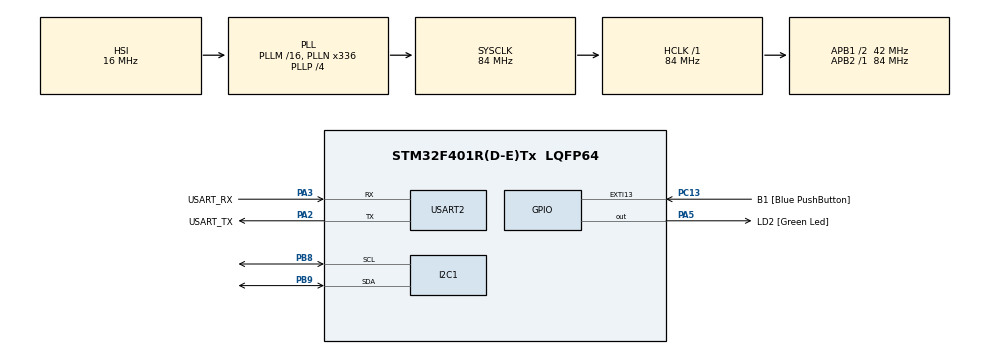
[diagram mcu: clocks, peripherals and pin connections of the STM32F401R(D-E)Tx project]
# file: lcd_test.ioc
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Mcu.Family=STM32F4
Mcu.Name=STM32F401R(D-E)Tx
Mcu.Package=LQFP64
NVIC.PriorityGroup=NVIC_PRIORITYGROUP_0
PA13.GPIO_Label=TMS
PA13.Mode=Serial_Wire
PA13.Signal=SYS_JTMS-SWDIO
PA14.GPIO_Label=TCK
PA14.Mode=Serial_Wire
PA14.Signal=SYS_JTCK-SWCLK
PA2.GPIO_Label=USART_TX
PA2.GPIO_Mode=GPIO_MODE_AF_PP
PA2.GPIO_PuPd=GPIO_NOPULL
PA2.GPIO_Speed=GPIO_SPEED_FREQ_LOW
PA2.Mode=Asynchronous
PA2.Signal=USART2_TX
PA3.GPIO_Label=USART_RX
PA3.GPIO_Mode=GPIO_MODE_AF_PP
PA3.GPIO_PuPd=GPIO_NOPULL
PA3.GPIO_Speed=GPIO_SPEED_FREQ_LOW
PA3.Mode=Asynchronous
PA3.Signal=USART2_RX
PA5.GPIO_Label=LD2 [Green Led]
PA5.GPIO_Mode=GPIO_MODE_OUTPUT_PP
PA5.GPIO_PuPd=GPIO_NOPULL
PA5.GPIO_Speed=GPIO_SPEED_FREQ_LOW
PA5.Signal=GPIO_Output
PB3.GPIO_Label=SWO
PB3.Signal=SYS_JTDO-SWO
PB8.Mode=I2C
PB8.Signal=I2C1_SCL
PB9.Mode=I2C
PB9.Signal=I2C1_SDA
PC13-ANTI_TAMP.GPIO_Label=B1 [Blue PushButton]
PC13-ANTI_TAMP.GPIO_ModeDefaultEXTI=GPIO_MODE_IT_FALLING
PC13-ANTI_TAMP.GPIO_PuPd=GPIO_NOPULL
PC13-ANTI_TAMP.Signal=GPXTI13
PC14-OSC32_IN.Mode=LSE-External-Oscillator
PC14-OSC32_IN.Signal=RCC_OSC32_IN
PC15-OSC32_OUT.Mode=LSE-External-Oscillator
PC15-OSC32_OUT.Signal=RCC_OSC32_OUT
PH0\ -\ OSC_IN.Mode=HSE-External-Clock-Source
PH0\ -\ OSC_IN.Signal=RCC_OSC_IN
PH1\ -\ OSC_OUT.Mode=HSE-External-Clock-Source
PH1\ -\ OSC_OUT.Signal=RCC_OSC_OUT
ProjectManager.HeapSize=0x200
ProjectManager.StackSize=0x400
ProjectManager.TargetToolchain=STM32CubeIDE
RCC.48MHZClocksFreq_Value=48000000
RCC.AHBFreq_Value=84000000
RCC.APB1CLKDivider=RCC_HCLK_DIV2
RCC.APB1Freq_Value=42000000
RCC.APB1TimFreq_Value=84000000
RCC.APB2Freq_Value=84000000
RCC.APB2TimFreq_Value=84000000
RCC.CortexFreq_Value=84000000
RCC.HCLKFreq_Value=84000000
RCC.HSE_VALUE=8000000
RCC.HSI_VALUE=16000000
RCC.PLLN=336
RCC.PLLP=RCC_PLLP_DIV4
RCC.PLLQ=7
RCC.SYSCLKFreq_VALUE=84000000
RCC.SYSCLKSource=RCC_SYSCLKSOURCE_PLLCLK
RCC.VCOOutputFreq_Value=336000000
USART2.VirtualMode=VM_ASYNC
board=NUCLEO-F401RE

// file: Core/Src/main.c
/* USER CODE BEGIN Header */
/**
  ******************************************************************************
  * @file           : main.c
  * @brief          : Main program body
  ******************************************************************************
  * @attention
  *
  * Copyright (c) 2023 STMicroelectronics.
  * All rights reserved.
  *
  * This software is licensed under terms that can be found in the LICENSE file
  * in the root directory of this software component.
  * If no LICENSE file comes with this software, it is provided AS-IS.
  *
  ******************************************************************************
  */
/* USER CODE END Header */
#include "main.h"

/* USER CODE BEGIN Includes */
#include "i2c-lcd.h"
/* USER CODE END Includes */

I2C_HandleTypeDef hi2c1;

UART_HandleTypeDef huart2;

void SystemClock_Config(void);
static void MX_GPIO_Init(void);
static void MX_USART2_UART_Init(void);
static void MX_I2C1_Init(void);

int main(void)
{

  /* MCU Configuration--------------------------------------------------------*/

  /* Reset of all peripherals, Initializes the Flash interface and the Systick. */
  HAL_Init();

  /* Configure the system clock */
  SystemClock_Config();

  /* Initialize all configured peripherals */
  MX_GPIO_Init();
  MX_USART2_UART_Init();
  MX_I2C1_Init();
  /* USER CODE BEGIN 2 */

  // Initialize the I2C connection mode and the LCD display using the library
  lcd_init();

  /* IMPORTANT!!! Addresses of the display lines:
   * Line 1: 0x80|0x00 --> from 0x00(0)  to 0x13(19)
   * Line 3: 0x80|0x14 --> from 0x14(20) to 0x27(39)
   * Line 2: 0x80|0x40 --> from 0x40(40) to 0x53(59)
   * Line 4: 0x80|0x54 --> from 0x54(60) to 0x67(79)
   * NOTE!!! You always need to apply OR with 0x80 (1000 0000) (set bit 8 to 1)
   * 	ie. lcd_send_cmd(0x80|0x00); to move the cursor to line 1 position 1
  */
  unsigned char LINE_1_START = 0x80|0x00;
  unsigned char LINE_2_START = 0x80|0x40;
  unsigned char LINE_3_START = 0x80|0x14;
  unsigned char LINE_4_START = 0x80|0x54;
  unsigned char CLEAR_SCREEN = 0x1;
  unsigned char CURSOR_ON = 0xE;
  unsigned char CURSOR_OFF = 0xC;
  unsigned char CURSOR_BLINK_ON = 0xD;
  unsigned char CURSOR_BLINK_OFF = 0xC;
  unsigned char DISPLAY_OFF = 0x08;
  unsigned char DISPLAY_ON = CURSOR_OFF;

  lcd_send_cmd(CURSOR_BLINK_ON);
//  lcd_send_cmd(LINE_1_START);
  lcd_set_cursor(0,0); // Set cursor to line 1 start
  lcd_send_string("HELLO WORLD!");  // Print text at cursor (just make sure this isn't more than 20 chars, or else it can't display it)
//  lcd_send_cmd(LINE_2_START);
  lcd_set_cursor(1, 0);
  lcd_send_string("LCD 20x4 demo");
//  lcd_send_cmd(LINE_3_START + 9);  // Since it's just a number, you can just add stuff to make it go to the next character
  lcd_set_cursor(2, 9);
  lcd_send_string("by");
//  lcd_send_cmd(LINE_4_START);
  lcd_set_cursor(3, 0);
  lcd_send_string("Controllers Tech");
  HAL_Delay(3000);

  // Custom characters (can only store up to 8 at a time on the board though)
  char cc1[] = {0x00, 0x00, 0x0A, 0x00, 0x11, 0x0E, 0x00, 0x00};  // smiley
  char cc2[] = {0x0E, 0x0E, 0x04, 0x0E, 0x15, 0x04, 0x0A, 0x0A};  // Robo
  char cc3[] = {0x08, 0x0C, 0x0E, 0x0F, 0x0E, 0x0C, 0x08, 0x00};  // arrow
  char cc4[] = {0x00, 0x04, 0x0E, 0x0E, 0x0E, 0x1F, 0x04, 0x00};  // bell
  char cc5[] = {0x00, 0x00, 0x0A, 0x15, 0x11, 0x0E, 0x04, 0x00};  // Heart
  char cc6[] = {0x00, 0x0E, 0x11, 0x11, 0x11, 0x0A, 0x1B, 0x00};  // omega
  char cc7[] = {0x0E, 0x10, 0x17, 0x12, 0x12, 0x12, 0x10, 0x0E};  // CT
  char cc8[] = {0x04, 0x04, 0x1F, 0x04, 0x04, 0x00, 0x1F, 0x00};  // +-

  // store the chars into the CGRAM (up to 8)
  lcd_send_cmd(0x40);
  for (int i=0; i<8; i++) lcd_send_data(cc1[i]);

  lcd_send_cmd(0x40+8);
  for (int i=0; i<8; i++) lcd_send_data(cc2[i]);

  lcd_send_cmd(0x40+16);
  for (int i=0; i<8; i++) lcd_send_data(cc3[i]);

  lcd_send_cmd(0x40+24);
  for (int i=0; i<8; i++) lcd_send_data(cc4[i]);

  lcd_send_cmd(0x40+32);
  for (int i=0; i<8; i++) lcd_send_data(cc5[i]);

  lcd_send_cmd(0x40+40);
  for (int i=0; i<8; i++) lcd_send_data(cc6[i]);

  lcd_send_cmd(0x40+48);
  for (int i=0; i<8; i++) lcd_send_data(cc7[i]);

  lcd_send_cmd(0x40+56);
  for (int i=0; i<8; i++) lcd_send_data(cc8[i]);

  /* USER CODE END 2 */

  /* Infinite loop */
  /* USER CODE BEGIN WHILE */
  while (1)
  {
	  lcd_send_cmd(CURSOR_ON);
	  lcd_send_cmd(CLEAR_SCREEN);
	  lcd_set_cursor(1, 0);
	  lcd_send_string("my string!@)+#$%^&");
	  lcd_set_cursor(2, 0);
	  lcd_send_data(0);
	  lcd_send_data(4);
	  HAL_Delay(3000);
	  lcd_set_cursor(1, 0);
	  HAL_Delay(1000);
	  lcd_send_cmd(DISPLAY_OFF);
	  HAL_Delay(1000);
	  lcd_send_cmd(CURSOR_OFF);
	  lcd_set_cursor(1, 0);
	  lcd_send_data(96);  // You can also just send a char like this too
	  lcd_send_string("no cursor{}[]\\|*");  // Some characters do not display properly
	  HAL_Delay(3000);
    /* USER CODE END WHILE */

  }
}

void SystemClock_Config(void)
{
  RCC_OscInitTypeDef RCC_OscInitStruct = {0};
  RCC_ClkInitTypeDef RCC_ClkInitStruct = {0};

  /** Configure the main internal regulator output voltage
  */
  __HAL_RCC_PWR_CLK_ENABLE();
  __HAL_PWR_VOLTAGESCALING_CONFIG(PWR_REGULATOR_VOLTAGE_SCALE2);

  /** Initializes the RCC Oscillators according to the specified parameters
  * in the RCC_OscInitTypeDef structure.
  */
  RCC_OscInitStruct.OscillatorType = RCC_OSCILLATORTYPE_HSI;
  RCC_OscInitStruct.HSIState = RCC_HSI_ON;
  RCC_OscInitStruct.HSICalibrationValue = RCC_HSICALIBRATION_DEFAULT;
  RCC_OscInitStruct.PLL.PLLState = RCC_PLL_ON;
  RCC_OscInitStruct.PLL.PLLSource = RCC_PLLSOURCE_HSI;
  RCC_OscInitStruct.PLL.PLLM = 16;
  RCC_OscInitStruct.PLL.PLLN = 336;
  RCC_OscInitStruct.PLL.PLLP = RCC_PLLP_DIV4;
  RCC_OscInitStruct.PLL.PLLQ = 7;
  if (HAL_RCC_OscConfig(&RCC_OscInitStruct) != HAL_OK)
  {
    Error_Handler();
  }

  /** Initializes the CPU, AHB and APB buses clocks
  */
  RCC_ClkInitStruct.ClockType = RCC_CLOCKTYPE_HCLK|RCC_CLOCKTYPE_SYSCLK
                              |RCC_CLOCKTYPE_PCLK1|RCC_CLOCKTYPE_PCLK2;
  RCC_ClkInitStruct.SYSCLKSource = RCC_SYSCLKSOURCE_PLLCLK;
  RCC_ClkInitStruct.AHBCLKDivider = RCC_SYSCLK_DIV1;
  RCC_ClkInitStruct.APB1CLKDivider = RCC_HCLK_DIV2;
  RCC_ClkInitStruct.APB2CLKDivider = RCC_HCLK_DIV1;

  if (HAL_RCC_ClockConfig(&RCC_ClkInitStruct, FLASH_LATENCY_2) != HAL_OK)
  {
    Error_Handler();
  }
}

static void MX_I2C1_Init(void)
{

  hi2c1.Instance = I2C1;
  hi2c1.Init.ClockSpeed = 100000;
  hi2c1.Init.DutyCycle = I2C_DUTYCYCLE_2;
  hi2c1.Init.OwnAddress1 = 0;
  hi2c1.Init.AddressingMode = I2C_ADDRESSINGMODE_7BIT;
  hi2c1.Init.DualAddressMode = I2C_DUALADDRESS_DISABLE;
  hi2c1.Init.OwnAddress2 = 0;
  hi2c1.Init.GeneralCallMode = I2C_GENERALCALL_DISABLE;
  hi2c1.Init.NoStretchMode = I2C_NOSTRETCH_DISABLE;
  if (HAL_I2C_Init(&hi2c1) != HAL_OK)
  {
    Error_Handler();
  }

}

static void MX_USART2_UART_Init(void)
{

  huart2.Instance = USART2;
  huart2.Init.BaudRate = 115200;
  huart2.Init.WordLength = UART_WORDLENGTH_8B;
  huart2.Init.StopBits = UART_STOPBITS_1;
  huart2.Init.Parity = UART_PARITY_NONE;
  huart2.Init.Mode = UART_MODE_TX_RX;
  huart2.Init.HwFlowCtl = UART_HWCONTROL_NONE;
  huart2.Init.OverSampling = UART_OVERSAMPLING_16;
  if (HAL_UART_Init(&huart2) != HAL_OK)
  {
    Error_Handler();
  }

}

static void MX_GPIO_Init(void)
{
  GPIO_InitTypeDef GPIO_InitStruct = {0};

  /* GPIO Ports Clock Enable */
  __HAL_RCC_GPIOC_CLK_ENABLE();
  __HAL_RCC_GPIOH_CLK_ENABLE();
  __HAL_RCC_GPIOA_CLK_ENABLE();
  __HAL_RCC_GPIOB_CLK_ENABLE();

  /*Configure GPIO pin Output Level */
  HAL_GPIO_WritePin(LD2_GPIO_Port, LD2_Pin, GPIO_PIN_RESET);

  /*Configure GPIO pin : B1_Pin */
  GPIO_InitStruct.Pin = B1_Pin;
  GPIO_InitStruct.Mode = GPIO_MODE_IT_FALLING;
  GPIO_InitStruct.Pull = GPIO_NOPULL;
  HAL_GPIO_Init(B1_GPIO_Port, &GPIO_InitStruct);

  /*Configure GPIO pin : LD2_Pin */
  GPIO_InitStruct.Pin = LD2_Pin;
  GPIO_InitStruct.Mode = GPIO_MODE_OUTPUT_PP;
  GPIO_InitStruct.Pull = GPIO_NOPULL;
  GPIO_InitStruct.Speed = GPIO_SPEED_FREQ_LOW;
  HAL_GPIO_Init(LD2_GPIO_Port, &GPIO_InitStruct);

}

void Error_Handler(void)
{
  __disable_irq();
  while (1)
  {
  }
}
